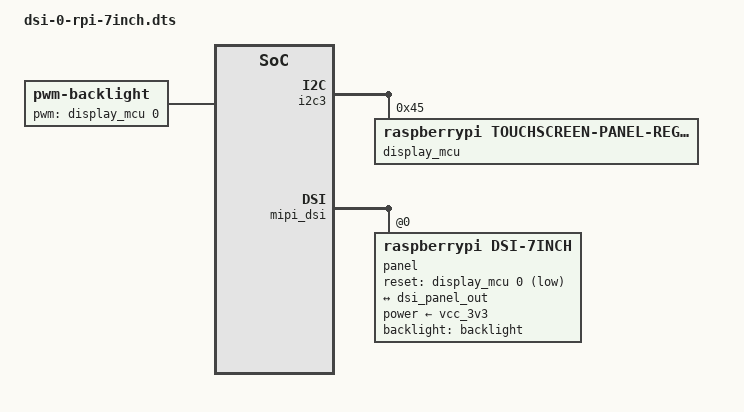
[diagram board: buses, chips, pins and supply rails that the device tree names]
// SPDX-License-Identifier: (GPL-2.0-or-later OR MIT)
/*
 * Copyright (C) 2026 Libre Computer, Inc.
 */
/*
 * Summary: Raspberry Pi Touch Display 2 on DSI connector 0
 *
 * Requires: dsi-0
 *
 * Resource-requires: bus:mipi_dsi
 * Resource-provides: i2c:i2c3@0x45, label:backlight
 *
 * Notes:
 *   The panel MCU at I2C 0x45 owns reset and the backlight PWM.
 *   Connector I2C is I2C_M3 (i2c3, GPIOA_14/15), pins 20 and 21.
 *   Power is the board VCC_3V3 on pins 22 and 23.
 *   Lane count is the raspberrypi,dsi-7inch driver descriptor (2).
 *   Pins 17 and 18 are not claimed.
 *   Production bases mux GPIOA_14/15 to i2c3. This fragment
 *   repeats that mux. V01 does not use this file.
 */
/dts-v1/;
/plugin/;

#include <dt-bindings/gpio/gpio.h>

/ {
	compatible = "libre-computer,aml-a311d-cc",
		"libretech,aml-a311d-cc",
		"libre-computer,aml-a311d-cc-v01",
		"libretech,aml-a311d-cc-v01",
		"libre-computer,aml-s905d3-cc",
		"libretech,aml-s905d3-cc",
		"libre-computer,aml-s905d3-cc-v01",
		"libretech,aml-s905d3-cc-v01",
		"amlogic,a311d",
		"amlogic,g12b",
		"amlogic,s905d3",
		"amlogic,sm1";

	fragment@0 {
		target = <&i2c3>;

		__overlay__ {
			status = "okay";
			pinctrl-0 = <&i2c3_sda_a_pins>, <&i2c3_sck_a_pins>;
			pinctrl-names = "default";

			display_mcu: regulator@45 {
				compatible = "raspberrypi,touchscreen-panel-regulator-v2";
				reg = <0x45>;
				gpio-controller;
				#gpio-cells = <2>;
				#pwm-cells = <3>;
			};
		};
	};

	fragment@1 {
		target-path = "/";

		__overlay__ {
			backlight: backlight {
				compatible = "pwm-backlight";
				pwms = <&display_mcu 0 200000 0>;
				brightness-levels = <0 31>;
				num-interpolated-steps = <31>;
				default-brightness-level = <15>;
			};
		};
	};

	fragment@2 {
		target = <&mipi_dsi>;

		__overlay__ {
			#address-cells = <1>;
			#size-cells = <0>;

			panel@0 {
				compatible = "raspberrypi,dsi-7inch", "ilitek,ili9881c";
				reg = <0>;
				power-supply = <&vcc_3v3>;
				reset-gpios = <&display_mcu 0 GPIO_ACTIVE_LOW>;
				backlight = <&backlight>;

				port {
					panel_in: endpoint {
						remote-endpoint = <&dsi_panel_out>;
					};
				};
			};
		};
	};

	fragment@3 {
		target = <&mipi_dsi_panel_port>;

		__overlay__ {
			dsi_panel_out: endpoint {
				remote-endpoint = <&panel_in>;
			};
		};
	};
};
